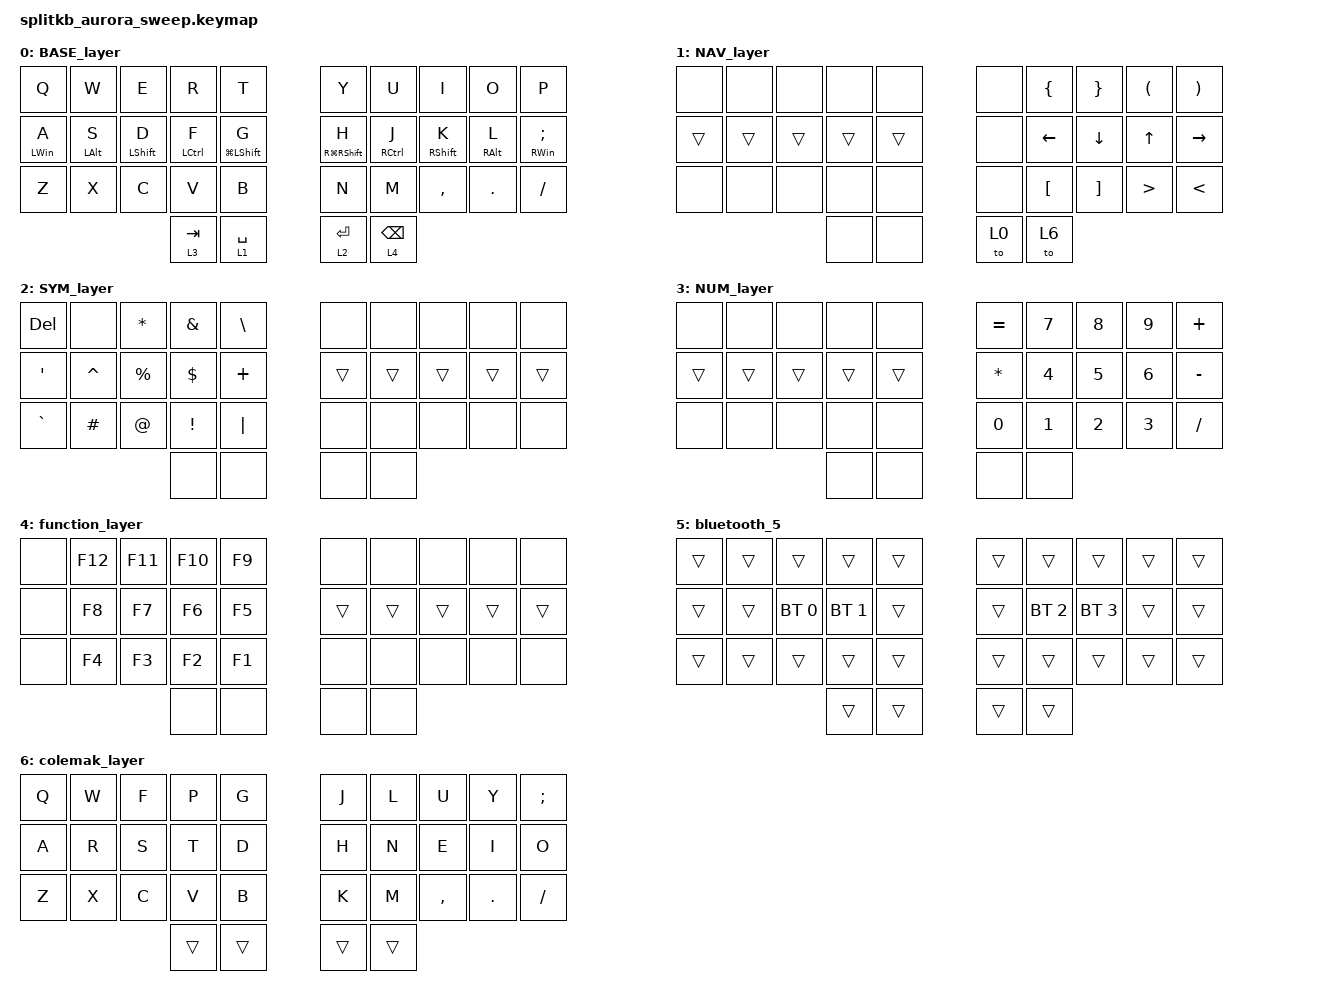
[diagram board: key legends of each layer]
/*
 * Copyright (c) 2022 The ZMK Contributors
 *
 * SPDX-License-Identifier: MIT
 */

#include <behaviors.dtsi>
#include <dt-bindings/zmk/bt.h>
#include <dt-bindings/zmk/keys.h>

&mt {
    //  flavor = "tap-preferred";
    // tapping_term_ms = <200>;

    tapping-term-ms = <300>;
};

/*
* &adc {
* 	status = "okay";
* };
*/

/ {
    /*    chosen {
*	zmk,battery = &vbatt;
*    };
*    vbatt: vbatt {
*	compatible = "zmk,battery-voltage-divider";
*	io-channels = <&adc 2>;
*	output-ohms = <2000000>;
*    };
*/

    combos {
        compatible = "zmk,combos";

        combo_esc {
            timeout-ms = <50>;
            key-positions = <10 19>;
            bindings = <&kp ESC>;
        };

        combo_underscored {
            bindings = <&kp UNDERSCORE>;
            key-positions = <23 26>;
        };

        combo_minus {
            bindings = <&kp MINUS>;
            key-positions = <3 6>;
        };

        combo_capslock {
            bindings = <&caps_word>;
            key-positions = <20 29>;
        };

        combo_bluetooth {
            bindings = <&mo 5>;
            key-positions = <30 33>;
        };

        combo_hyper {
            bindings = <&kp LG(LC(LEFT_ALT))>;
            key-positions = <32 31>;
        };
    };

    behaviors {
        rpi: rpi {
            compatible = "zmk,behavior-hold-tap";
            label = "RPI";
            bindings = <&kp>, <&kp>;

            #binding-cells = <2>;
            flavor = "tap-preferred";
            tapping-term-ms = <200>;
            quick-tap-ms = <200>;
            require-prior-idle-ms = <125>;
        };
    };

    keymap {
        compatible = "zmk,keymap";

        BASE_layer {
            bindings = <
&kp Q            &kp W            &kp E          &kp R         &kp T                    &kp Y                   &kp U                 &kp I               &kp O             &kp P
&rpi LEFT_WIN A  &rpi LEFT_ALT S  &rpi LSHIFT D  &rpi LCTRL F  &rpi LG(LEFT_SHIFT) G    &rpi RG(RIGHT_SHIFT) H  &rpi RIGHT_CONTROL J  &rpi RIGHT_SHIFT K  &rpi RIGHT_ALT L  &rpi RIGHT_WIN SEMICOLON
&kp Z            &kp X            &kp C          &kp V         &kp B                    &kp N                   &kp M                 &kp COMMA           &kp DOT           &kp SLASH
                                                 &lt 3 TAB     &lt 1 SPACE              &lt 2 ENTER             &lt 4 BACKSPACE
            >;
        };

        NAV_layer {
            bindings = <
&none   &none   &none   &none   &none     &none  &kp LEFT_BRACE    &kp RIGHT_BRACE    &kp LEFT_PARENTHESIS  &kp RIGHT_PARENTHESIS
&trans  &trans  &trans  &trans  &trans    &none  &kp LEFT          &kp DOWN_ARROW     &kp UP_ARROW          &kp RIGHT_ARROW
&none   &none   &none   &none   &none     &none  &kp LEFT_BRACKET  &kp RIGHT_BRACKET  &kp GREATER_THAN      &kp LESS_THAN
                        &none   &none     &to 0  &to 6
            >;
        };

        SYM_layer {
            bindings = <
&kp DELETE        &none      &kp ASTERISK  &kp AMPERSAND    &kp BACKSLASH    &none   &none   &none   &none   &none
&kp SINGLE_QUOTE  &kp CARET  &kp PERCENT   &kp DOLLAR       &kp PLUS         &trans  &trans  &trans  &trans  &trans
&kp GRAVE         &kp HASH   &kp AT_SIGN   &kp EXCLAMATION  &kp PIPE         &none   &none   &none   &none   &none
                                           &none            &none            &none   &none
            >;
        };

        NUM_layer {
            bindings = <
&none   &none   &none   &none   &none     &kp EQUAL     &kp N7  &kp N8  &kp N9  &kp PLUS
&trans  &trans  &trans  &trans  &trans    &kp ASTERISK  &kp N4  &kp N5  &kp N6  &kp MINUS
&none   &none   &none   &none   &none     &kp N0        &kp N1  &kp N2  &kp N3  &kp FSLH
                        &none   &none     &none         &none
            >;
        };

        function_layer {
            bindings = <
&none  &kp F12  &kp F11  &kp F10  &kp F9    &none   &none   &none   &none   &none
&none  &kp F8   &kp F7   &kp F6   &kp F5    &trans  &trans  &trans  &trans  &trans
&none  &kp F4   &kp F3   &kp F2   &kp F1    &none   &none   &none   &none   &none
                         &none    &none     &none   &none
            >;
        };

        bluetooth_5 {
            bindings = <
&trans  &trans  &trans        &trans        &trans    &trans  &trans        &trans        &trans  &trans
&trans  &trans  &bt BT_SEL 0  &bt BT_SEL 1  &trans    &trans  &bt BT_SEL 2  &bt BT_SEL 3  &trans  &trans
&trans  &trans  &trans        &trans        &trans    &trans  &trans        &trans        &trans  &trans
                              &trans        &trans    &trans  &trans
            >;
        };

        colemak_layer {
            bindings = <
&kp Q  &kp W  &kp F  &kp P   &kp G     &kp J   &kp L   &kp U      &kp Y    &kp SEMI
&kp A  &kp R  &kp S  &kp T   &kp D     &kp H   &kp N   &kp E      &kp I    &kp O
&kp Z  &kp X  &kp C  &kp V   &kp B     &kp K   &kp M   &kp COMMA  &kp DOT  &kp FSLH
                     &trans  &trans    &trans  &trans
            >;
        };
    };
};
